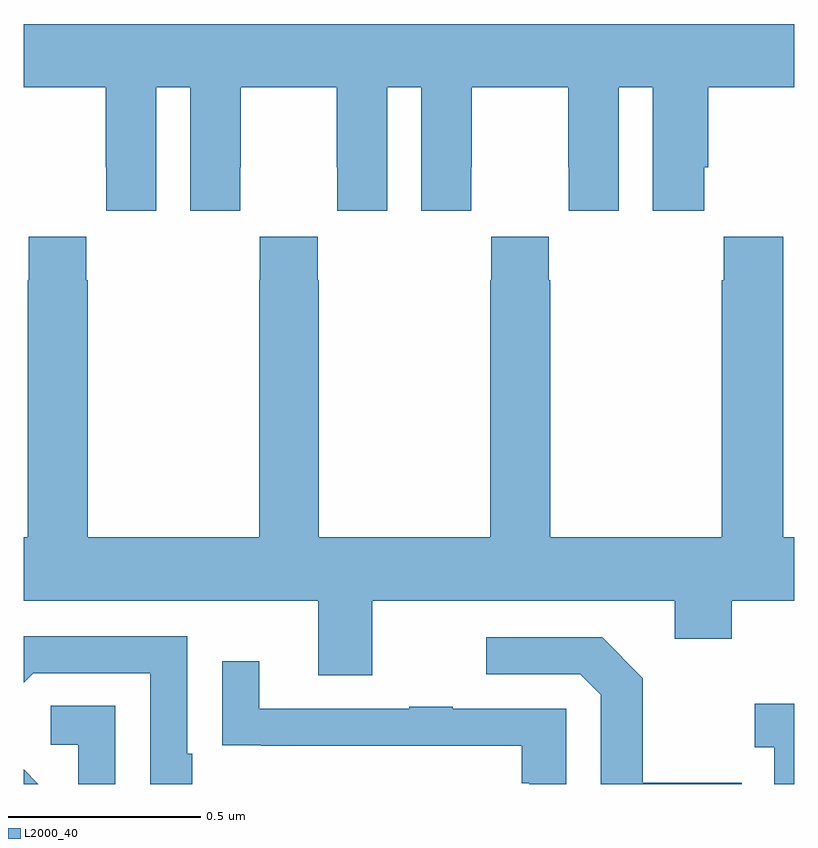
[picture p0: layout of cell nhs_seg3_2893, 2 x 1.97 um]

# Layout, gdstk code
import gdstk
lib = gdstk.Library(unit=1e-6, precision=1e-09)
def P(c, l, *ps):  # polygons
    for p in ps: c.add(gdstk.Polygon(p, *l))
L2000_40 = (2000, 40)

nhs_seg3_2893 = lib.new_cell('nhs_seg3_2893')
P(nhs_seg3_2893, L2000_40, [(146.344,742.208),(146.432,742.208),(146.432,741.888),(146.562,741.888),(146.562,742),(146.563,742),(146.563,742.208),(146.813,742.208),(146.813,742),(146.814,742),(146.814,741.888),(146.944,741.888),(146.944,742.208),(147.032,742.208),(147.032,741.888),(147.162,741.888),(147.162,742),(147.163,742),(147.163,742.208),(147.413,742.208),(147.413,742),(147.414,742),(147.414,741.888),(147.544,741.888),(147.544,742.208),(147.632,742.208),(147.632,741.888),(147.766,741.888),(147.766,742),(147.776,742),(147.776,742.208),(148,742.208),(148,742.372),(146,742.372),(146,742.208),(146.213,742.208),(146.213,742),(146.214,742),(146.214,741.888),(146.344,741.888)],
  [(146.905,740.876),(147.689,740.876),(147.689,740.777),(147.837,740.777),(147.837,740.876),(148,740.876),(148,741.04),(147.971,741.04),(147.971,741.82),(147.817,741.82),(147.817,741.707),(147.811,741.707),(147.811,741.04),(147.366,741.04),(147.366,741.707),(147.363,741.707),(147.363,741.82),(147.213,741.82),(147.213,741.707),(147.211,741.707),(147.211,741.04),(146.766,741.04),(146.766,741.707),(146.763,741.707),(146.763,741.82),(146.613,741.82),(146.613,741.707),(146.611,741.707),(146.611,741.04),(146.166,741.04),(146.166,741.707),(146.163,741.707),(146.163,741.82),(146.013,741.82),(146.013,741.707),(146.011,741.707),(146.011,741.04),(146,741.04),(146,740.876),(146.765,740.876),(146.765,740.682),(146.905,740.682)],
  [(146.437,740.479),(146.424,740.479),(146.424,740.784),(146,740.784),(146,740.663),(146.025,740.688),(146.328,740.688),(146.328,740.4),(146.437,740.4)],
  [(147.863,740.403),(147.607,740.403),(147.607,740.675),(147.501,740.781),(147.201,740.781),(147.201,740.685),(147.444,740.685),(147.498,740.631),(147.498,740.4),(147.863,740.4)],
  [(147.408,740.595),(147.113,740.595),(147.113,740.6),(147.001,740.6),(147.001,740.595),(146.611,740.595),(146.611,740.719),(146.515,740.719),(146.515,740.5),(146.617,740.5),(146.617,740.499),(147.292,740.499),(147.292,740.402),(147.312,740.402),(147.312,740.4),(147.408,740.4)],
  [(148,740.608),(147.897,740.608),(147.897,740.495),(147.948,740.495),(147.948,740.4),(148,740.4)],
  [(146.238,740.603),(146.07,740.603),(146.07,740.502),(146.142,740.502),(146.142,740.4),(146.238,740.4)],
  [(146,740.438),(146,740.4),(146.038,740.4)])

lib.write_gds('nhs_seg3_2893.gds')
